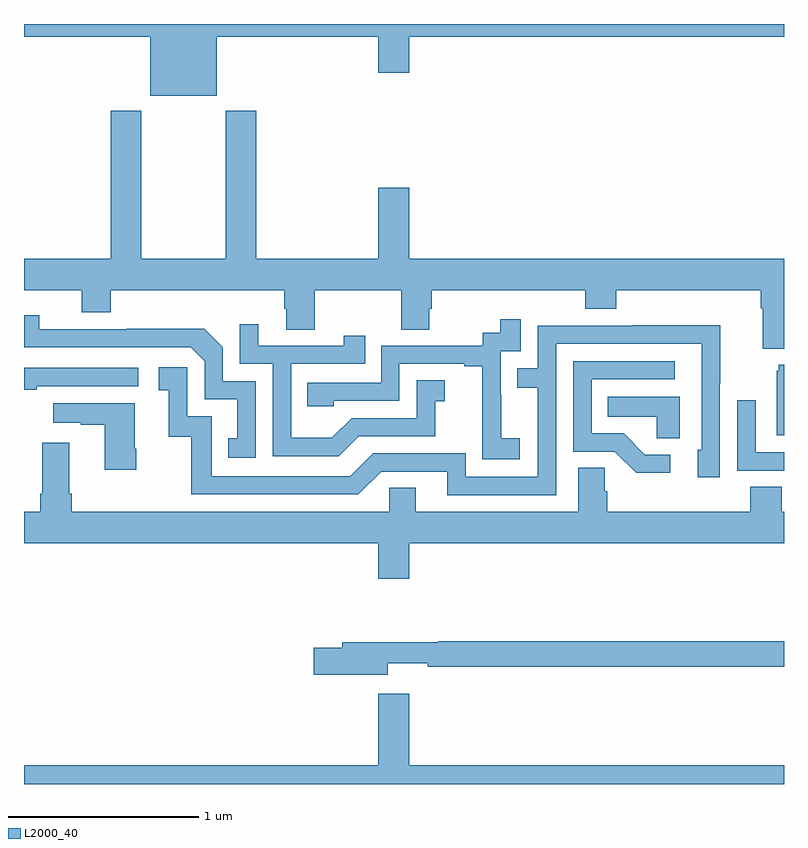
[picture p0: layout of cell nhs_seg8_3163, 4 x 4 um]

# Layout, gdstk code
import gdstk
lib = gdstk.Library(unit=1e-6, precision=1e-09)
def P(c, l, *ps):  # polygons
    for p in ps: c.add(gdstk.Polygon(p, *l))
L2000_40 = (2000, 40)

nhs_seg8_3163 = lib.new_cell('nhs_seg8_3163')
P(nhs_seg8_3163, L2000_40, [(308.014,1117.832),(308.864,1117.832),(308.864,1117.644),(309.028,1117.644),(309.028,1117.832),(311,1117.832),(311,1117.9),(307,1117.9),(307,1117.832),(307.664,1117.832),(307.664,1117.523),(308.014,1117.523)],
  [(308.222,1117.444),(308.062,1117.444),(308.062,1116.664),(307.617,1116.664),(307.617,1117.444),(307.457,1117.444),(307.457,1116.664),(307,1116.664),(307,1116.5),(307.304,1116.5),(307.304,1116.383),(307.457,1116.383),(307.457,1116.5),(308.369,1116.5),(308.369,1116.402),(308.381,1116.402),(308.381,1116.292),(308.529,1116.292),(308.529,1116.5),(308.986,1116.5),(308.986,1116.292),(309.133,1116.292),(309.133,1116.402),(309.146,1116.402),(309.146,1116.5),(309.953,1116.5),(309.953,1116.401),(310.118,1116.401),(310.118,1116.5),(310.877,1116.5),(310.877,1116.404),(310.889,1116.404),(310.889,1116.191),(311,1116.191),(311,1116.664),(309.028,1116.664),(309.028,1117.039),(308.864,1117.039),(308.864,1116.664),(308.222,1116.664)],
  [(308.22,1116.021),(308.046,1116.021),(308.046,1116.198),(307.948,1116.296),(307.54,1116.296),(307.54,1116.294),(307.08,1116.294),(307.08,1116.367),(307,1116.367),(307,1116.198),(307.878,1116.198),(307.95,1116.126),(307.95,1115.925),(308.123,1115.925),(308.123,1115.721),(308.074,1115.721),(308.074,1115.616),(308.22,1115.616)],
  [(309.61,1115.719),(309.512,1115.719),(309.512,1115.948),(309.51,1115.948),(309.51,1116.177),(309.615,1116.177),(309.615,1116.346),(309.507,1116.346),(309.507,1116.276),(309.414,1116.276),(309.414,1116.207),(308.88,1116.207),(308.88,1116.012),(308.491,1116.012),(308.491,1115.889),(308.631,1115.889),(308.631,1115.916),(308.976,1115.916),(308.976,1116.111),(309.317,1116.111),(309.317,1116.099),(309.413,1116.099),(309.413,1115.815),(309.412,1115.815),(309.412,1115.609),(309.61,1115.609)],
  [(308.761,1115.73),(309.165,1115.73),(309.165,1115.915),(309.214,1115.915),(309.214,1116.025),(309.066,1116.025),(309.066,1115.826),(308.724,1115.826),(308.62,1115.722),(308.406,1115.722),(308.406,1116.111),(308.795,1116.111),(308.795,1116.259),(308.684,1116.259),(308.684,1116.207),(308.233,1116.207),(308.233,1116.319),(308.136,1116.319),(308.136,1116.111),(308.31,1116.111),(308.31,1115.625),(308.656,1115.625)],
  [(309.801,1116.216),(310.566,1116.216),(310.566,1115.658),(310.547,1115.658),(310.547,1115.514),(310.662,1115.514),(310.662,1116.007),(310.665,1116.007),(310.665,1116.314),(310.201,1116.314),(310.201,1116.312),(309.705,1116.312),(309.705,1116.087),(309.595,1116.087),(309.595,1115.986),(309.705,1115.986),(309.705,1115.517),(309.324,1115.517),(309.324,1115.64),(308.838,1115.64),(308.718,1115.52),(307.989,1115.52),(307.989,1115.835),(307.86,1115.835),(307.86,1116.094),(307.71,1116.094),(307.71,1115.973),(307.763,1115.973),(307.763,1115.727),(307.881,1115.727),(307.881,1115.424),(308.76,1115.424),(308.88,1115.544),(309.227,1115.544),(309.227,1115.421),(309.801,1115.421)],
  [(310.402,1115.634),(310.267,1115.634),(310.156,1115.745),(309.987,1115.745),(309.987,1116.03),(310.426,1116.03),(310.426,1116.126),(309.891,1116.126),(309.891,1115.649),(310.11,1115.649),(310.223,1115.537),(310.402,1115.537)],
  [(311,1116.106),(310.973,1116.106),(310.973,1116.075),(310.961,1116.075),(310.961,1115.735),(311,1115.735)],
  [(307.067,1115.994),(307.6,1115.994),(307.6,1116.09),(307,1116.09),(307,1115.974),(307.067,1115.974)],
  [(310.45,1115.938),(310.072,1115.938),(310.072,1115.834),(310.329,1115.834),(310.329,1115.719),(310.45,1115.719)],
  [(311,1115.646),(310.851,1115.646),(310.851,1115.92),(310.755,1115.92),(310.755,1115.55),(311,1115.55)],
  [(307.59,1115.665),(307.582,1115.665),(307.582,1115.905),(307.155,1115.905),(307.155,1115.801),(307.298,1115.801),(307.298,1115.791),(307.424,1115.791),(307.424,1115.553),(307.59,1115.553)],
  [(311,1115.332),(310.988,1115.332),(310.988,1115.465),(310.823,1115.465),(310.823,1115.332),(310.07,1115.332),(310.07,1115.441),(310.056,1115.441),(310.056,1115.564),(309.917,1115.564),(309.917,1115.332),(309.061,1115.332),(309.061,1115.459),(308.922,1115.459),(308.922,1115.332),(307.25,1115.332),(307.25,1115.428),(307.237,1115.428),(307.237,1115.695),(307.097,1115.695),(307.097,1115.428),(307.085,1115.428),(307.085,1115.332),(307,1115.332),(307,1115.168),(308.864,1115.168),(308.864,1114.98),(309.028,1114.98),(309.028,1115.168),(311,1115.168)],
  [(308.914,1114.535),(309.124,1114.535),(309.124,1114.516),(311,1114.516),(311,1114.652),(309.179,1114.652),(309.179,1114.645),(308.675,1114.645),(308.675,1114.616),(308.526,1114.616),(308.526,1114.474),(308.914,1114.474)],
  [(309.028,1114.375),(308.864,1114.375),(308.864,1114),(307,1114),(307,1113.9),(311,1113.9),(311,1114),(309.028,1114)])

lib.write_gds('nhs_seg8_3163.gds')
